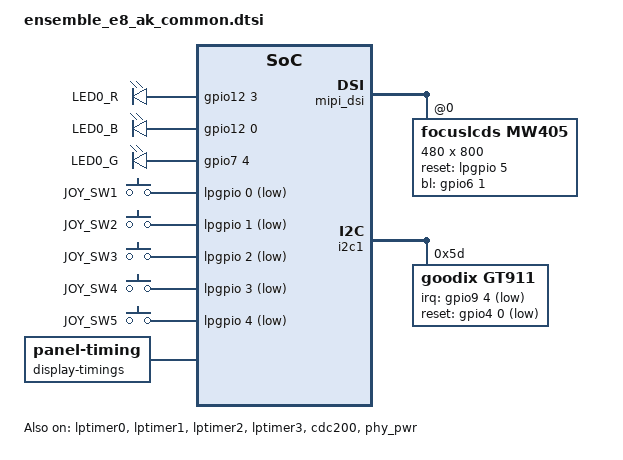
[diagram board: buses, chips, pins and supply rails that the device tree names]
/*
 * SPDX-FileCopyrightText: Copyright Alif Semiconductor
 * SPDX-License-Identifier: Apache-2.0
 */

/*
 * On-board peripherals shared by every ensemble_e8_ak board target. Include
 * this after the SoC dtsi, the cluster dtsi and the board pinctrl dtsi: every
 * node referenced below comes from one of those.
 */

#include <zephyr/dt-bindings/gpio/gpio.h>
#include <zephyr/dt-bindings/input/input-event-codes.h>
#include <zephyr/dt-bindings/mipi_dsi/mipi_dsi.h>

/ {
	aliases {
		led0 = &led_red;
		led1 = &led_blue;
		led2 = &led_green;
		sw0 = &joy_center;
	};

	chosen {
		zephyr,display = &cdc200;
		zephyr,touch = &gt911;
	};

	leds {
		compatible = "gpio-leds";

		led_red: led_0 {
			gpios = <&gpio12 3 GPIO_ACTIVE_HIGH>;
			label = "LED0_R";
		};

		led_blue: led_1 {
			gpios = <&gpio12 0 GPIO_ACTIVE_HIGH>;
			label = "LED0_B";
		};

		led_green: led_2 {
			gpios = <&gpio7 4 GPIO_ACTIVE_HIGH>;
			label = "LED0_G";
		};
	};

	gpio_keys {
		compatible = "gpio-keys";
		/*
		 * The DesignWare GPIO driver does not implement both
		 * edge triggering, which the interrupt driven mode of
		 * the GPIO keys driver needs.
		 */
		polling-mode;

		joy_left: joy_left {
			gpios = <&lpgpio 0 GPIO_ACTIVE_LOW>;
			label = "JOY_SW1";
			zephyr,code = <INPUT_KEY_LEFT>;
		};

		joy_up: joy_up {
			gpios = <&lpgpio 1 GPIO_ACTIVE_LOW>;
			label = "JOY_SW2";
			zephyr,code = <INPUT_KEY_UP>;
		};

		joy_down: joy_down {
			gpios = <&lpgpio 2 GPIO_ACTIVE_LOW>;
			label = "JOY_SW3";
			zephyr,code = <INPUT_KEY_DOWN>;
		};

		joy_right: joy_right {
			gpios = <&lpgpio 3 GPIO_ACTIVE_LOW>;
			label = "JOY_SW4";
			zephyr,code = <INPUT_KEY_RIGHT>;
		};

		joy_center: joy_center {
			gpios = <&lpgpio 4 GPIO_ACTIVE_LOW>;
			label = "JOY_SW5";
			zephyr,code = <INPUT_KEY_ENTER>;
		};
	};
};

&gpio6 {
	pinctrl-0 = <&gpio6_default>;
	pinctrl-names = "default";
	status = "okay";
};

&gpio7 {
	pinctrl-0 = <&gpio7_default>;
	pinctrl-names = "default";
	status = "okay";
};

&gpio12 {
	pinctrl-0 = <&gpio12_default>;
	pinctrl-names = "default";
	status = "okay";
};

&lpgpio {
	pinctrl-0 = <&lpgpio_default>;
	pinctrl-names = "default";
	status = "okay";
};

&lptimer0 {
	status = "okay";
};

&lptimer1 {
	status = "okay";
};

&lptimer2 {
	status = "okay";
};

&lptimer3 {
	status = "okay";
};

&cdc200 {
	width = <480>;
	height = <800>;
	enable-l1;
	pixel-fmt-l1 = "rgb-888";
	panel-dev = <&mw405>;
	status = "okay";

	display-timings {
		compatible = "zephyr,panel-timing";
		hfront-porch = <5>;
		hback-porch = <5>;
		hsync-len = <4>;
		vfront-porch = <10>;
		vback-porch = <10>;
		vsync-len = <2>;
		clock-frequency = <24364080>;
		hsync-active = <0>;
		vsync-active = <0>;
		de-active = <1>;
		pixelclk-active = <0>;
	};
};

&mipi_dsi {
	dpi-shutdn-active = <1>;
	dpi-colorm-active = <1>;
	vid-pkt-size = <480>;
	ecc-recv-en;
	crc-recv-en;
	frame-ack-en;
	ldo-phy = <&ldo_phy_reg>;
	tx-dphy = <&mipi_tx_dphy_reg>;
	pll-dphy = <&mipi_pll_dphy_reg>;
	// HACK! this is the clock setting for the E7, not E8!
	clocks = <&clockctrl ALIF_DSI_CLK>, <&clockctrl ALIF_CDC200_PIX_SYST_ACLK>,
		 <&clockctrl ALIF_CLK_CFG(CLKCTL_PER_MST, MIPI_CKEN, 0U, 1U, 0U, 0U, 0U, 21)>,
		 <&clockctrl ALIF_MIPI_PLLREF_CLK>,
		 <&clockctrl ALIF_MIPI_BYPASS_CLK>;
	status = "okay";

	mw405: mw405@0 {
		compatible = "focuslcds,mw405";
		reg = <0>;
		reset-gpios = <&lpgpio 5 GPIO_ACTIVE_HIGH>;
		bl-gpios = <&gpio6 1 GPIO_ACTIVE_HIGH>;
		data-lanes = <2>;
		width = <480>;
		height = <800>;
		pixel-format = <MIPI_DSI_PIXFMT_RGB888>;
		hp-mode;
		burst-mode;
		status = "okay";
	};
};

&gpio4 {
	status = "okay";
};

&gpio9 {
	status = "okay";
};

&i2c1 {
	pinctrl-0 = <&i2c1_default>;
	pinctrl-names = "default";
	// Hack- this is for E7
	clocks = <&clockctrl ALIF_CLK_CFG(CLKCTL_PER_SLV, I2C1_CTRL, 0U, 0U,
					  0U, 0U, 0U, ALIF_PARENT_CLK_SYST_PCLK)>;
	status = "okay";

	gt911: gt911@5d {
		compatible = "goodix,gt911";
		reg = <0x5d>;
		irq-gpios = <&gpio9 4 GPIO_ACTIVE_LOW>;
		reset-gpios = <&gpio4 0 GPIO_ACTIVE_LOW>;
	};
};

&phy_pwr {
	status = "okay";
};
